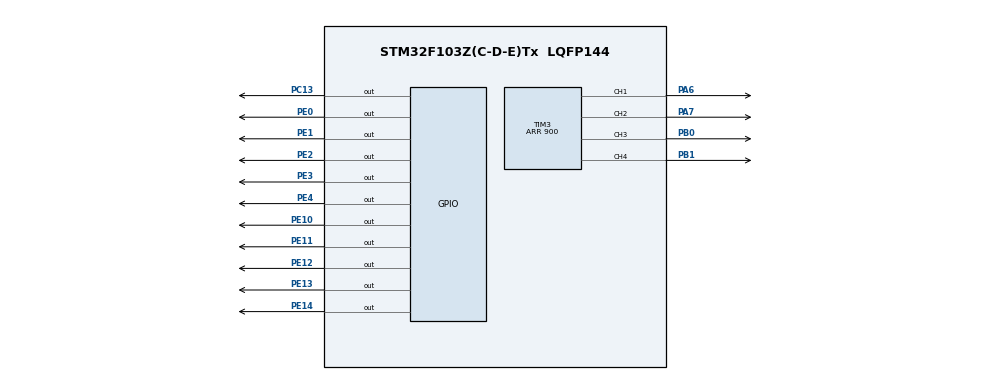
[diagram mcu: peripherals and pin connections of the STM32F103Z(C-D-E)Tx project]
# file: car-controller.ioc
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Mcu.Family=STM32F1
Mcu.Name=STM32F103Z(C-D-E)Tx
Mcu.Package=LQFP144
NVIC.PriorityGroup=NVIC_PRIORITYGROUP_4
PA13.Mode=Serial_Wire
PA13.Signal=SYS_JTMS-SWDIO
PA14.Mode=Serial_Wire
PA14.Signal=SYS_JTCK-SWCLK
PA6.Signal=S_TIM3_CH1
PA7.Signal=S_TIM3_CH2
PB0.Signal=S_TIM3_CH3
PB1.Signal=S_TIM3_CH4
PC13-TAMPER-RTC.Signal=GPIO_Output
PE0.Signal=GPIO_Output
PE1.Signal=GPIO_Output
PE10.Signal=GPIO_Output
PE11.Signal=GPIO_Output
PE12.Signal=GPIO_Output
PE13.Signal=GPIO_Output
PE14.Signal=GPIO_Output
PE2.Signal=GPIO_Output
PE3.Signal=GPIO_Output
PE4.Signal=GPIO_Output
ProjectManager.HeapSize=0x200
ProjectManager.StackSize=0x400
ProjectManager.TargetToolchain=CMake
RCC.APB1Freq_Value=8000000
RCC.APB2Freq_Value=8000000
SH.S_TIM3_CH1.0=TIM3_CH1,PWM Generation1 CH1
SH.S_TIM3_CH2.0=TIM3_CH2,PWM Generation2 CH2
SH.S_TIM3_CH3.0=TIM3_CH3,PWM Generation3 CH3
SH.S_TIM3_CH4.0=TIM3_CH4,PWM Generation4 CH4
TIM3.Channel-PWM\ Generation1\ CH1=TIM_CHANNEL_1
TIM3.Channel-PWM\ Generation2\ CH2=TIM_CHANNEL_2
TIM3.Channel-PWM\ Generation3\ CH3=TIM_CHANNEL_3
TIM3.Channel-PWM\ Generation4\ CH4=TIM_CHANNEL_4
TIM3.Period=900
board=custom

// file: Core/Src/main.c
/* USER CODE BEGIN Header */
/**
 ******************************************************************************
 * @file           : main.c
 * @brief          : Main program body
 ******************************************************************************
 * @attention
 *
 * Copyright (c) 2025 STMicroelectronics.
 * All rights reserved.
 *
 * This software is licensed under terms that can be found in the LICENSE file
 * in the root directory of this software component.
 * If no LICENSE file comes with this software, it is provided AS-IS.
 *
 ******************************************************************************
 */
/* USER CODE END Header */
#include "main.h"

TIM_HandleTypeDef htim3;

void SystemClock_Config(void);
static void MX_GPIO_Init(void);
static void MX_TIM3_Init(void);

int main(void)
{

  /* MCU Configuration--------------------------------------------------------*/

  /* Reset of all peripherals, Initializes the Flash interface and the Systick. */
  HAL_Init();

  /* Configure the system clock */
  SystemClock_Config();

  /* Initialize all configured peripherals */
  MX_GPIO_Init();
  MX_TIM3_Init();
  /* USER CODE BEGIN 2 */
  HAL_TIM_PWM_Start(&htim3, TIM_CHANNEL_1);
  HAL_TIM_PWM_Start(&htim3, TIM_CHANNEL_2);
  HAL_TIM_PWM_Start(&htim3, TIM_CHANNEL_3);
  HAL_TIM_PWM_Start(&htim3, TIM_CHANNEL_4);
  __HAL_TIM_SET_COMPARE(&htim3, TIM_CHANNEL_1, 500);
  __HAL_TIM_SET_COMPARE(&htim3, TIM_CHANNEL_2, 500);
  __HAL_TIM_SET_COMPARE(&htim3, TIM_CHANNEL_3, 500);
  __HAL_TIM_SET_COMPARE(&htim3, TIM_CHANNEL_4, 500);

  HAL_GPIO_WritePin(GPIOE, GPIO_PIN_10, GPIO_PIN_SET);

  HAL_GPIO_WritePin(GPIOE, GPIO_PIN_11, GPIO_PIN_SET);
  HAL_GPIO_WritePin(GPIOE, GPIO_PIN_12, GPIO_PIN_RESET);
  HAL_GPIO_WritePin(GPIOE, GPIO_PIN_13, GPIO_PIN_SET);
  HAL_GPIO_WritePin(GPIOE, GPIO_PIN_14, GPIO_PIN_RESET);

  HAL_GPIO_WritePin(GPIOE, GPIO_PIN_0, GPIO_PIN_SET);

  HAL_GPIO_WritePin(GPIOE, GPIO_PIN_1, GPIO_PIN_SET);
  HAL_GPIO_WritePin(GPIOE, GPIO_PIN_2, GPIO_PIN_RESET);
  HAL_GPIO_WritePin(GPIOE, GPIO_PIN_3, GPIO_PIN_SET);
  HAL_GPIO_WritePin(GPIOE, GPIO_PIN_4, GPIO_PIN_RESET);
  /* USER CODE END 2 */

  /* Infinite loop */
  while (1)
  {

  }
}

void SystemClock_Config(void)
{
  RCC_OscInitTypeDef RCC_OscInitStruct = {0};
  RCC_ClkInitTypeDef RCC_ClkInitStruct = {0};

  /** Initializes the RCC Oscillators according to the specified parameters
   * in the RCC_OscInitTypeDef structure.
   */
  RCC_OscInitStruct.OscillatorType = RCC_OSCILLATORTYPE_HSI;
  RCC_OscInitStruct.HSIState = RCC_HSI_ON;
  RCC_OscInitStruct.HSICalibrationValue = RCC_HSICALIBRATION_DEFAULT;
  RCC_OscInitStruct.PLL.PLLState = RCC_PLL_NONE;
  if (HAL_RCC_OscConfig(&RCC_OscInitStruct) != HAL_OK)
  {
    Error_Handler();
  }

  /** Initializes the CPU, AHB and APB buses clocks
   */
  RCC_ClkInitStruct.ClockType = RCC_CLOCKTYPE_HCLK | RCC_CLOCKTYPE_SYSCLK | RCC_CLOCKTYPE_PCLK1 | RCC_CLOCKTYPE_PCLK2;
  RCC_ClkInitStruct.SYSCLKSource = RCC_SYSCLKSOURCE_HSI;
  RCC_ClkInitStruct.AHBCLKDivider = RCC_SYSCLK_DIV1;
  RCC_ClkInitStruct.APB1CLKDivider = RCC_HCLK_DIV1;
  RCC_ClkInitStruct.APB2CLKDivider = RCC_HCLK_DIV1;

  if (HAL_RCC_ClockConfig(&RCC_ClkInitStruct, FLASH_LATENCY_0) != HAL_OK)
  {
    Error_Handler();
  }
}

static void MX_TIM3_Init(void)
{

  TIM_MasterConfigTypeDef sMasterConfig = {0};
  TIM_OC_InitTypeDef sConfigOC = {0};

  htim3.Instance = TIM3;
  htim3.Init.Prescaler = 0;
  htim3.Init.CounterMode = TIM_COUNTERMODE_UP;
  htim3.Init.Period = 900;
  htim3.Init.ClockDivision = TIM_CLOCKDIVISION_DIV1;
  htim3.Init.AutoReloadPreload = TIM_AUTORELOAD_PRELOAD_DISABLE;
  if (HAL_TIM_PWM_Init(&htim3) != HAL_OK)
  {
    Error_Handler();
  }
  sMasterConfig.MasterOutputTrigger = TIM_TRGO_RESET;
  sMasterConfig.MasterSlaveMode = TIM_MASTERSLAVEMODE_DISABLE;
  if (HAL_TIMEx_MasterConfigSynchronization(&htim3, &sMasterConfig) != HAL_OK)
  {
    Error_Handler();
  }
  sConfigOC.OCMode = TIM_OCMODE_PWM1;
  sConfigOC.Pulse = 0;
  sConfigOC.OCPolarity = TIM_OCPOLARITY_HIGH;
  sConfigOC.OCFastMode = TIM_OCFAST_DISABLE;
  if (HAL_TIM_PWM_ConfigChannel(&htim3, &sConfigOC, TIM_CHANNEL_1) != HAL_OK)
  {
    Error_Handler();
  }
  if (HAL_TIM_PWM_ConfigChannel(&htim3, &sConfigOC, TIM_CHANNEL_2) != HAL_OK)
  {
    Error_Handler();
  }
  if (HAL_TIM_PWM_ConfigChannel(&htim3, &sConfigOC, TIM_CHANNEL_3) != HAL_OK)
  {
    Error_Handler();
  }
  if (HAL_TIM_PWM_ConfigChannel(&htim3, &sConfigOC, TIM_CHANNEL_4) != HAL_OK)
  {
    Error_Handler();
  }
  HAL_TIM_MspPostInit(&htim3);
}

static void MX_GPIO_Init(void)
{
  GPIO_InitTypeDef GPIO_InitStruct = {0};

  /* GPIO Ports Clock Enable */
  __HAL_RCC_GPIOE_CLK_ENABLE();
  __HAL_RCC_GPIOC_CLK_ENABLE();
  __HAL_RCC_GPIOA_CLK_ENABLE();
  __HAL_RCC_GPIOB_CLK_ENABLE();

  /*Configure GPIO pin Output Level */
  HAL_GPIO_WritePin(GPIOE, GPIO_PIN_2 | GPIO_PIN_3 | GPIO_PIN_4 | GPIO_PIN_10 | GPIO_PIN_11 | GPIO_PIN_12 | GPIO_PIN_13 | GPIO_PIN_14 | GPIO_PIN_0 | GPIO_PIN_1, GPIO_PIN_RESET);

  /*Configure GPIO pin Output Level */
  HAL_GPIO_WritePin(GPIOC, GPIO_PIN_13, GPIO_PIN_RESET);

  /*Configure GPIO pins : PE2 PE3 PE4 PE10
                           PE11 PE12 PE13 PE14
                           PE0 PE1 */
  GPIO_InitStruct.Pin = GPIO_PIN_2 | GPIO_PIN_3 | GPIO_PIN_4 | GPIO_PIN_10 | GPIO_PIN_11 | GPIO_PIN_12 | GPIO_PIN_13 | GPIO_PIN_14 | GPIO_PIN_0 | GPIO_PIN_1;
  GPIO_InitStruct.Mode = GPIO_MODE_OUTPUT_PP;
  GPIO_InitStruct.Pull = GPIO_NOPULL;
  GPIO_InitStruct.Speed = GPIO_SPEED_FREQ_LOW;
  HAL_GPIO_Init(GPIOE, &GPIO_InitStruct);

  /*Configure GPIO pin : PC13 */
  GPIO_InitStruct.Pin = GPIO_PIN_13;
  GPIO_InitStruct.Mode = GPIO_MODE_OUTPUT_PP;
  GPIO_InitStruct.Pull = GPIO_NOPULL;
  GPIO_InitStruct.Speed = GPIO_SPEED_FREQ_LOW;
  HAL_GPIO_Init(GPIOC, &GPIO_InitStruct);

}

void Error_Handler(void)
{
  __disable_irq();
  while (1)
  {
  }
}
